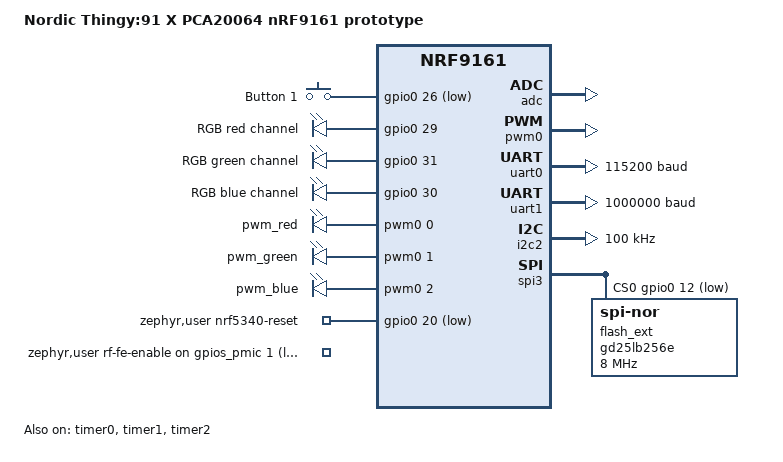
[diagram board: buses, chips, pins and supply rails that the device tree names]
/*
 * Thingy:91 X PCA20064 prototype hardware description.
 * Copyright (c) 2026
 * SPDX-License-Identifier: LicenseRef-Nordic-5-Clause
 */

#include <mem.h>
#include <zephyr/dt-bindings/gpio/gpio.h>
#include <zephyr/dt-bindings/pwm/pwm.h>
#include <dt-bindings/regulator/npm1300.h>
#include <dt-bindings/regulator/npm6001.h>

/ {
	model = "Nordic Thingy:91 X PCA20064 nRF9161 prototype";
	compatible = "nordic,pca20064-nrf9161";

	chosen {
		zephyr,console = &uart0;
		zephyr,shell-uart = &uart0;
		zephyr,uart-mcumgr = &uart0;
		nordic,pm-ext-flash = &flash_ext;
		zephyr,wifi = &nordic_wlan0;
	};

	buttons {
		compatible = "gpio-keys";
		button0: button_0 {
			gpios = <&gpio0 26 (GPIO_PULL_UP | GPIO_ACTIVE_LOW)>;
			label = "Button 1";
		};
	};

	leds {
		compatible = "gpio-leds";
		red_led: led_0 {
			gpios = <&gpio0 29 GPIO_ACTIVE_HIGH>;
			label = "RGB red channel";
		};
		green_led: led_1 {
			gpios = <&gpio0 31 GPIO_ACTIVE_HIGH>;
			label = "RGB green channel";
		};
		blue_led: led_2 {
			gpios = <&gpio0 30 GPIO_ACTIVE_HIGH>;
			label = "RGB blue channel";
		};
	};

	pwmleds {
		compatible = "pwm-leds";
		pwm_red: pwm_led_0 {
			pwms = <&pwm0 0 PWM_MSEC(8) PWM_POLARITY_NORMAL>;
		};
		pwm_green: pwm_led_1 {
			pwms = <&pwm0 1 PWM_MSEC(8) PWM_POLARITY_NORMAL>;
		};
		pwm_blue: pwm_led_2 {
			pwms = <&pwm0 2 PWM_MSEC(8) PWM_POLARITY_NORMAL>;
		};
	};

	zephyr,user {
		nrf5340-reset-gpios = <&gpio0 20 GPIO_ACTIVE_LOW>;
	};

	aliases {
		sw0 = &button0;
		led0 = &red_led;
		led1 = &green_led;
		led2 = &blue_led;
		pwm-led0 = &pwm_red;
		pwm-led1 = &pwm_green;
		pwm-led2 = &pwm_blue;
		rgb-pwm = &pwm0;
		mcuboot-button0 = &button0;
		spi-flash0 = &flash_ext;
	};
};

&adc {
	status = "okay";
};

&gpiote {
	status = "okay";
};

&gpio0 {
	status = "okay";
	sense-edge-mask = <0xffffffff>;
};

&pwm0 {
	status = "okay";
	pinctrl-0 = <&pwm0_default>;
	pinctrl-1 = <&pwm0_sleep>;
	pinctrl-names = "default", "sleep";
};

/* The nRF91 system clock driver uses an RTC timer instance. B0 also uses
 * Zephyr timeout helpers, so leaving all timer nodes disabled produces an
 * unresolved sys_clock_elapsed symbol at link time.
 */
&timer0 {
	status = "okay";
};

&timer1 {
	status = "okay";
};

&timer2 {
	status = "okay";
};

&uart0 {
	compatible = "nordic,nrf-uarte";
	status = "okay";
	current-speed = <115200>;
	pinctrl-0 = <&uart0_default>;
	pinctrl-1 = <&uart0_sleep>;
	pinctrl-names = "default", "sleep";
};

&uart1 {
	compatible = "nordic,nrf-uarte";
	status = "okay";
	current-speed = <1000000>;
	pinctrl-0 = <&uart1_default>;
	pinctrl-1 = <&uart1_sleep>;
	pinctrl-names = "default", "sleep";
};

/ {
	zephyr,user {
		rf-fe-enable-gpios = <&gpios_pmic 1
			(GPIO_ACTIVE_LOW | GPIO_OPEN_DRAIN | GPIO_PULL_UP)>;
	};
};

&i2c2 {
	compatible = "nordic,nrf-twim";
	status = "okay";
	clock-frequency = <I2C_BITRATE_STANDARD>;
	pinctrl-0 = <&i2c2_default>;
	pinctrl-1 = <&i2c2_sleep>;
	pinctrl-names = "default", "sleep";

	bme680: bme680@76 {
		compatible = "bosch,bme680";
		status = "disabled";
		reg = <0x76>;
	};

	pmic_main: npm1300@6b {
		compatible = "nordic,npm1300";
		status = "disabled";
		pmic-int-pin = <3>;
		reg = <0x6b>;

		gpios_pmic: npm1300_gpios {
			compatible = "nordic,npm1300-gpio";
			status = "disabled";
			gpio-controller;
			#gpio-cells = <2>;
			ngpios = <5>;
		};

		npm1300_regulators: regulators {
			compatible = "nordic,npm1300-regulator";
			status = "disabled";

			reg_3v3: BUCK2 {
				regulator-min-microvolt = <3300000>;
				regulator-max-microvolt = <3300000>;
				enable-gpios = <&gpios_pmic 2 GPIO_ACTIVE_HIGH>;
			};

			ldsw_npm6001_en: LDO1 {
				regulator-initial-mode = <NPM1300_LDSW_MODE_LDSW>;
				regulator-allowed-modes = <NPM1300_LDSW_MODE_LDSW>;
				regulator-boot-off;
				startup-delay-us = <2000>;
				off-on-delay-us = <2000>;
			};

			ldsw_sensors: LDO2 {
				regulator-initial-mode = <NPM1300_LDSW_MODE_LDSW>;
				regulator-allowed-modes = <NPM1300_LDSW_MODE_LDSW>;
				regulator-boot-on;
			};
		};

		/* Charging is opt-in. These values are for the confirmed LP803448
		 * 1S 3.7 V, 1350 mAh pack: 4.20 V termination, 0.2C standard
		 * charging, and a 10 kOhm B3435 NTC over the 0-45 C charge range.
		 * Do not enable this node for an unknown replacement battery.
		 */
		npm1300_charger: charger {
			compatible = "nordic,npm1300-charger";
			status = "disabled";
			vbus-limit-microamp = <500000>;
			term-microvolt = <4200000>;
			current-microamp = <270000>;
			dischg-limit-microamp = <1000000>;
			thermistor-cold-millidegrees = <0>;
			thermistor-cool-millidegrees = <0>;
			thermistor-warm-millidegrees = <45000>;
			thermistor-hot-millidegrees = <45000>;
			thermistor-ohms = <10000>;
			thermistor-beta = <3435>;
		};
	};

	pmic_wifi: npm6001@70 {
		compatible = "nordic,npm6001";
		status = "disabled";
		reg = <0x70>;

		regulators {
			compatible = "nordic,npm6001-regulator";
			status = "disabled";
			pmic_wifi_buck0: BUCK0 { regulator-boot-off; };
			pmic_wifi_buck1: BUCK1 { regulator-boot-off; };
			pmic_wifi_buck2: BUCK2 { regulator-boot-off; };

			reg_wifi: BUCK3 {
				regulator-min-microvolt = <3300000>;
				regulator-max-microvolt = <3300000>;
				regulator-initial-mode = <NPM6001_MODE_HYS>;
				regulator-boot-on;
			};
		};
	};

	accelerometer_lp: adxl367@1d {
		compatible = "adi,adxl367";
		status = "disabled";
		odr = <3>;
		reg = <0x1d>;
	};

	magnetometer: bmm350@14 {
		compatible = "bosch,bmm350";
		status = "disabled";
		reg = <0x14>;
	};
};

&spi3 {
	compatible = "nordic,nrf-spim";
	status = "okay";
	pinctrl-0 = <&spi3_default>;
	pinctrl-1 = <&spi3_sleep>;
	pinctrl-names = "default", "sleep";
	cs-gpios = <&gpio0 12 GPIO_ACTIVE_LOW>,
		   <&gpio0 17 GPIO_ACTIVE_LOW>;

	flash_ext: gd25lb256e@0 {
		compatible = "jedec,spi-nor";
		status = "okay";
		reg = <0>;
		spi-max-frequency = <8000000>;
		jedec-id = [c8 67 19];
		size = <268435456>;
		has-dpd;
		t-enter-dpd = <3000>;
		t-exit-dpd = <30000>;
	};

	nrf70: wifi@1 {
		compatible = "nordic,nrf7002-spi";
		status = "disabled";
		reg = <1>;
		spi-max-frequency = <DT_FREQ_M(8)>;
		iovdd-ctrl-gpios = <&gpio0 27 (GPIO_ACTIVE_HIGH | GPIO_PULL_DOWN)>;
		bucken-gpios = <&gpio0 28 (GPIO_ACTIVE_HIGH | GPIO_PULL_DOWN)>;
		host-irq-gpios = <&gpio0 16 GPIO_ACTIVE_HIGH>;

		nordic_wlan0: wlan0 {
			compatible = "nordic,wlan";
		};

		wifi-max-tx-pwr-2g-dsss = <21>;
		wifi-max-tx-pwr-2g-mcs0 = <16>;
		wifi-max-tx-pwr-2g-mcs7 = <16>;
		wifi-max-tx-pwr-5g-low-mcs0 = <9>;
		wifi-max-tx-pwr-5g-low-mcs7 = <9>;
		wifi-max-tx-pwr-5g-mid-mcs0 = <11>;
		wifi-max-tx-pwr-5g-mid-mcs7 = <11>;
		wifi-max-tx-pwr-5g-high-mcs0 = <13>;
		wifi-max-tx-pwr-5g-high-mcs7 = <13>;
	};
};

/* These fixed partitions provide valid DTS chosen nodes. Partition Manager
 * replaces them with pca20064_nrf9161_pm_static.yml in sysbuild.
 */
&flash0 {
	partitions {
		compatible = "fixed-partitions";
		#address-cells = <1>;
		#size-cells = <1>;

		boot_partition: partition@0 {
			label = "mcuboot";
			reg = <0x00000000 0x10000>;
		};
		slot0_partition: partition@10000 {
			label = "image-0";
			reg = <0x00010000 0x30000>;
		};
		slot0_ns_partition: partition@40000 {
			label = "image-0-nonsecure";
			reg = <0x00040000 0x40000>;
		};
		slot1_partition: partition@80000 {
			label = "image-1";
			reg = <0x00080000 0x30000>;
		};
		slot1_ns_partition: partition@b0000 {
			label = "image-1-nonsecure";
			reg = <0x000b0000 0x40000>;
		};
		scratch_partition: partition@f0000 {
			label = "image-scratch";
			reg = <0x000f0000 0xa000>;
		};
		storage_partition: partition@fa000 {
			label = "storage";
			reg = <0x000fa000 0x00006000>;
		};
	};
};

/ {
	reserved-memory {
		#address-cells = <1>;
		#size-cells = <1>;
		ranges;

		sram0_s: image_s@20000000 {
			reg = <0x20000000 DT_SIZE_K(64)>;
		};
		sram0_bsd: image_bsd@20010000 {
			reg = <0x20010000 DT_SIZE_K(64)>;
		};
		sram0_ns: image_ns@20020000 {
			reg = <0x20020000 DT_SIZE_K(128)>;
		};
	};
};
